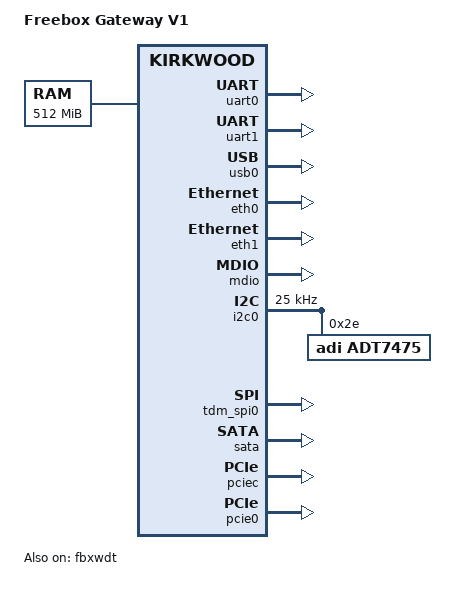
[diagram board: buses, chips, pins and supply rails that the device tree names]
/dts-v1/;

#include "kirkwood.dtsi"
#include "kirkwood-6281.dtsi"

/ {
	model = "Freebox Gateway V1";
	compatible = "freebox,fbxgw1r";

	chosen {
		stdout-path = &uart0;
	};

	memory {
		device_type = "memory";
		reg = <0x00000000 0x20000000>; /* 512 MB */
	};

	ocp@f1000000 {
		fbxwdt: fbxwatchdog-timer@20300 {
			compatible = "marvell,orion-fbxwdt";
			reg = <0x20300 0x28>, <0x20108 0x4>;
			clocks = <&gate_clk 7>;
			fbx,legacy-device-name = "orion_fbxwdt";
			status = "okay";
		};
	};

	aliases {
		spi0 = &tdm_spi0;
	};
};

&uart0 {
	status = "okay";
};
&uart1 {
	status = "okay";
};

&pmx_uart1 {
	marvell,pins = "mpp15", "mpp16";
	marvell,function = "uart1";
};

&pmx_uart0 {
	/* only mpp11 here (uart rx) as mpp10 is used as a gpio */
	marvell,pins = "mpp11", "mpp10";
	marvell,function = "uart0";
};


&usb0 {
	status = "okay";
	fbx,legacy-device-name = "orion-ehci.0";
};

&eth0 {
	status = "okay";
	fbx,ff-model = <1>;
};
&eth0port {
	fbxserial-mac-address = <0>;
	speed = <1000>;
	duplex = <1>;
};

&eth1 {
	status = "okay";
};
&eth1port {
	fbxserial-mac-address = <0>;
	speed = <1000>;
	duplex = <1>;
};

&mdio {
	status = "okay";
};

&i2c0 {
	status = "okay";
	clock-frequency = <25000>;
	fbx,legacy-device-name = "mv64xxx_i2c.0";

	adt7475@2e {
		compatible = "adi,adt7475";
		reg = <0x2e>;
	};
};

&tdm_spi0 {
	fbx,cs-gpios = <(-1) 36>;
	status = "okay";
	pinctrl-0 = <&pmx_alt_tdm_spi>;
};

&sata {
	status = "okay";
	nr-ports = <2>;
	fbx,legacy-device-name = "sata_mv.0";
};

&pciec {
	status = "okay";
};
&pcie0 {
	status = "okay";
};
